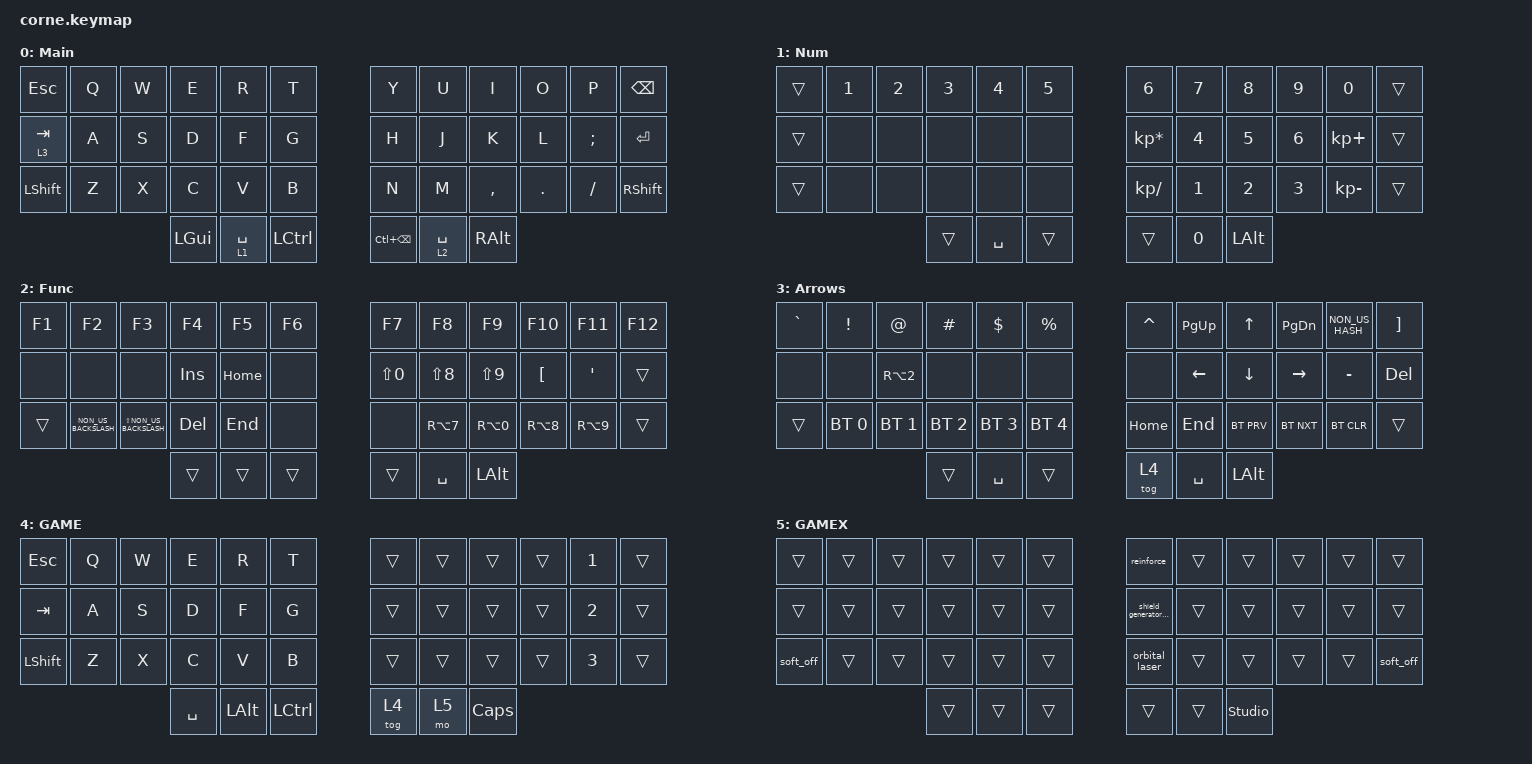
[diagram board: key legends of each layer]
/*
  * Copyright (c) 2020 The ZMK Contributors
  *
  * SPDX-License-Identifier: MIT
  */

#include <behaviors.dtsi>
#include <dt-bindings/zmk/bt.h>
#include <dt-bindings/zmk/keys.h>

&soft_off {
    hold-time-ms = <3000>; // Only turn off it the key is held for 3 seconds or longer.
};

&lt {
    tapping-term-ms = <180>;
};

/ {
    macros {
        reinforce: reinforce {
            compatible = "zmk,behavior-macro";
            #binding-cells = <0>;
            bindings =
                <&macro_press>,
                <&kp LCTRL>,
                <&macro_tap>,
                <&kp W &kp S &kp D &kp A &kp W>,
                <&macro_release>,
                <&kp LCTRL>;

            label = "REINFORCE";
        };

        shield_generator_pack: shield_generator_pack {
            compatible = "zmk,behavior-macro";
            #binding-cells = <0>;
            bindings =
                <&macro_press>,
                <&kp LCTRL>,
                <&macro_tap>,
                <&kp S &kp W &kp A &kp D &kp A &kp D>,
                <&macro_release>,
                <&kp LCTRL>;

            label = "SHIELD_GENERATOR_PACK";
        };

        orbital_laser: Orbital_Laser {
            compatible = "zmk,behavior-macro";
            #binding-cells = <0>;
            bindings =
                <&macro_press>,
                <&kp LCTRL>,
                <&macro_tap>,
                <&kp D &kp S &kp W &kp D &kp S>,
                <&macro_release>,
                <&kp LCTRL>;

            label = "ORBITAL_LASER";
        };
    };

    keymap {
        compatible = "zmk,keymap";

        layer0 {
            display-name = "Main";
            bindings = <
&kp ESCAPE      &kp Q  &kp W  &kp E         &kp R        &kp T               &kp Y              &kp U        &kp I          &kp O    &kp P          &kp BACKSPACE
&lt 3 TAB       &kp A  &kp S  &kp D         &kp F        &kp G               &kp H              &kp J        &kp K          &kp L    &kp SEMICOLON  &kp ENTER
&kp LEFT_SHIFT  &kp Z  &kp X  &kp C         &kp V        &kp B               &kp N              &kp M        &kp COMMA      &kp DOT  &kp SLASH      &kp RIGHT_SHIFT
                              &kp LEFT_GUI  &lt 1 SPACE  &kp LEFT_CONTROL    &kp LC(BACKSPACE)  &lt 2 SPACE  &kp RIGHT_ALT
            >;
        };

        layer1 {
            display-name = "Num";
            bindings = <
&trans  &kp N1  &kp N2  &kp N3  &kp N4     &kp N5    &kp N6           &kp N7  &kp N8         &kp N9  &kp N0        &trans
&trans  &none   &none   &none   &none      &none     &kp KP_ASTERISK  &kp N4  &kp N5         &kp N6  &kp KP_PLUS   &trans
&trans  &none   &none   &none   &none      &none     &kp KP_SLASH     &kp N1  &kp N2         &kp N3  &kp KP_MINUS  &trans
                        &trans  &kp SPACE  &trans    &trans           &kp N0  &kp LEFT_ALT
            >;
        };

        layer2 {
            display-name = "Func";
            bindings = <
&kp F1  &kp F2                &kp F3                    &kp F4      &kp F5    &kp F6    &kp F7            &kp F8      &kp F9        &kp F10           &kp F11           &kp F12
&none   &none                 &none                     &kp INSERT  &kp HOME  &none     &kp LS(NUMBER_0)  &kp LS(N8)  &kp LS(N9)    &kp LEFT_BRACKET  &kp SINGLE_QUOTE  &trans
&trans  &kp NON_US_BACKSLASH  &kp LS(NON_US_BACKSLASH)  &kp DELETE  &kp END   &none     &none             &kp RA(N7)  &kp RA(N0)    &kp RA(N8)        &kp RA(N9)        &trans
                                                        &trans      &trans    &trans    &trans            &kp SPACE   &kp LEFT_ALT
            >;
        };

        layer3 {
            display-name = "Arrows";
            bindings = <
&kp GRAVE  &kp EXCL      &kp AT        &kp HASH      &kp DLLR      &kp PRCNT       &kp CARET  &kp PAGE_UP  &kp UP        &kp PAGE_DOWN  &kp NON_US_HASH  &kp RIGHT_BRACKET
&none      &none         &kp RA(N2)    &none         &none         &none           &none      &kp LEFT     &kp DOWN      &kp RIGHT      &kp MINUS        &kp DELETE
&trans     &bt BT_SEL 0  &bt BT_SEL 1  &bt BT_SEL 2  &bt BT_SEL 3  &bt BT_SEL 4    &kp HOME   &kp END      &bt BT_PRV    &bt BT_NXT     &bt BT_CLR       &trans
                                       &trans        &kp SPACE     &trans          &tog 4     &kp SPACE    &kp LEFT_ALT
            >;
        };

        layer4 {
            display-name = "GAME";
            bindings = <
&kp ESCAPE      &kp Q  &kp W  &kp E      &kp R         &kp T               &trans  &trans  &trans        &trans  &kp NUMBER_1  &trans
&kp TAB         &kp A  &kp S  &kp D      &kp F         &kp G               &trans  &trans  &trans        &trans  &kp NUMBER_2  &trans
&kp LEFT_SHIFT  &kp Z  &kp X  &kp C      &kp V         &kp B               &trans  &trans  &trans        &trans  &kp NUMBER_3  &trans
                              &kp SPACE  &kp LEFT_ALT  &kp LEFT_CONTROL    &tog 4  &mo 5   &kp CAPSLOCK
            >;
        };

        layer5 {
            display-name = "GAMEX";
            bindings = <
&trans     &trans  &trans  &trans  &trans  &trans    &reinforce              &trans  &trans  &trans  &trans  &trans
&trans     &trans  &trans  &trans  &trans  &trans    &shield_generator_pack  &trans  &trans  &trans  &trans  &trans
&soft_off  &trans  &trans  &trans  &trans  &trans    &orbital_laser          &trans  &trans  &trans  &trans  &soft_off
                           &trans  &trans  &trans    &trans                  &trans  &studio_unlock
            >;
        };  
    };
};
